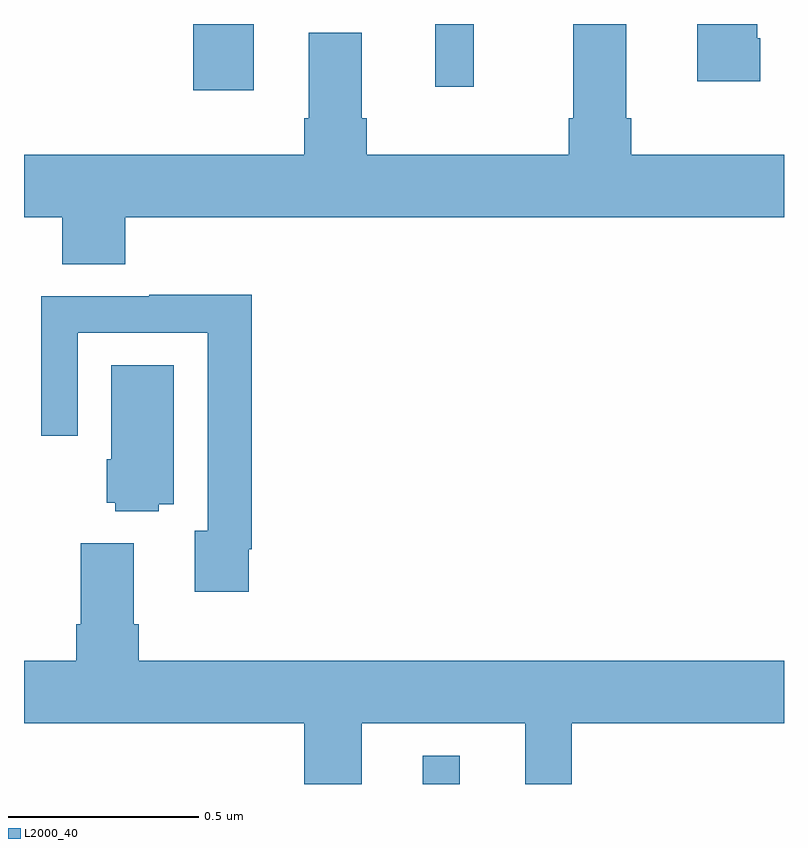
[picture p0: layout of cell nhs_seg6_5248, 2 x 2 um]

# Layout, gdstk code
import gdstk
lib = gdstk.Library(unit=1e-6, precision=1e-09)
def R(c, l, rs):  # rectangles x0, y0, x1, y1
    for r in rs: c.add(gdstk.rectangle(r[:2], r[2:], *l))
def P(c, l, *ps):  # polygons
    for p in ps: c.add(gdstk.Polygon(p, *l))
L2000_40 = (2000, 40)

nhs_seg6_5248 = lib.new_cell('nhs_seg6_5248')
R(nhs_seg6_5248, L2000_40, [(181.049,956.5,181.147,956.575), (180.446,958.326,180.604,958.5), (181.082,958.335,181.184,958.5)])
P(nhs_seg6_5248, L2000_40, [(180.266,957.992),(182,957.992),(182,958.156),(181.598,958.156),(181.598,958.252),(181.585,958.252),(181.585,958.5),(181.445,958.5),(181.445,958.252),(181.433,958.252),(181.433,958.156),(180.902,958.156),(180.902,958.252),(180.889,958.252),(180.889,958.477),(180.749,958.477),(180.749,958.252),(180.737,958.252),(180.737,958.156),(180,958.156),(180,957.992),(180.101,957.992),(180.101,957.868),(180.266,957.868)],
  [(181.938,958.462),(181.93,958.462),(181.93,958.5),(181.772,958.5),(181.772,958.35),(181.938,958.35)],
  [(180.592,957.118),(180.599,957.118),(180.599,957.787),(180.329,957.787),(180.329,957.783),(180.045,957.783),(180.045,957.417),(180.141,957.417),(180.141,957.687),(180.483,957.687),(180.483,957.167),(180.449,957.167),(180.449,957.006),(180.592,957.006)],
  [(180.354,957.236),(180.394,957.236),(180.394,957.602),(180.23,957.602),(180.23,957.354),(180.218,957.354),(180.218,957.24),(180.24,957.24),(180.24,957.218),(180.354,957.218)],
  [(180.889,956.66),(181.319,956.66),(181.319,956.5),(181.442,956.5),(181.442,956.66),(182,956.66),(182,956.824),(180.302,956.824),(180.302,956.92),(180.289,956.92),(180.289,957.133),(180.149,957.133),(180.149,956.92),(180.137,956.92),(180.137,956.824),(180,956.824),(180,956.66),(180.737,956.66),(180.737,956.5),(180.889,956.5)])

lib.write_gds('nhs_seg6_5248.gds')
